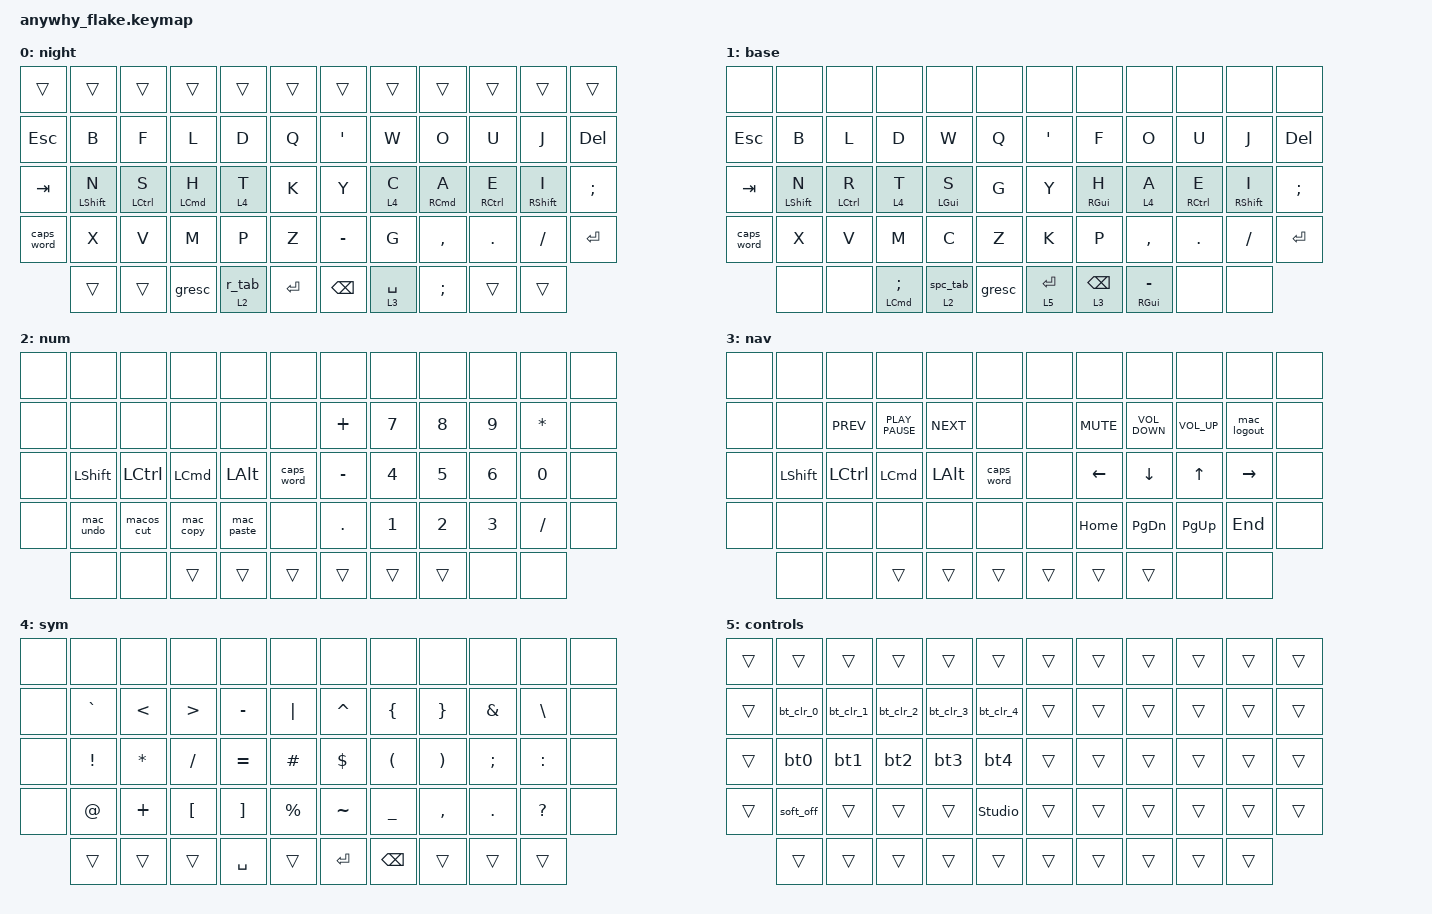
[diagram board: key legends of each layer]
#include <behaviors.dtsi>
#include <dt-bindings/zmk/bt.h>
#include <dt-bindings/zmk/keys.h>

&mt {
    flavor = "balanced";
    quick-tap-ms = <150>;
};

&lt {
    flavor = "balanced";
    quick-tap-ms = <200>;
};

&gresc {
    mods = <(MOD_RGUI|MOD_LGUI)>;
    keep-mods = <(MOD_LGUI)>;
};

/ {
    combos {
        compatible = "zmk,combos";

        to_night {
            bindings = <&to 0>;
            key-positions = <26 27 28>;
            timeout-ms = <20>;
            layers = <1>;
            require-prior-idle-ms = <150>;
        };

        to_graphite {
            bindings = <&to 1>;
            key-positions = <26 27 28>;
            layers = <0>;
        };
    };

    macros {
        bt_clr_0: bt_clr_0 {
            compatible = "zmk,behavior-macro";
            #binding-cells = <0>;
            bindings = <&bt BT_SEL 0 &bt BT_CLR>;
            label = "BT_CLR_0";
        };

        bt_clr_1: bt_clr_1 {
            compatible = "zmk,behavior-macro";
            #binding-cells = <0>;
            bindings = <&bt BT_SEL 1 &bt BT_CLR>;
            label = "BT_CLR_1";
        };

        bt_clr_2: bt_clr_2 {
            compatible = "zmk,behavior-macro";
            #binding-cells = <0>;
            bindings = <&bt BT_SEL 2 &bt BT_CLR>;
            label = "BT_CLR_2";
        };

        bt_clr_3: bt_clr_3 {
            compatible = "zmk,behavior-macro";
            #binding-cells = <0>;
            bindings = <&bt BT_SEL 3 &bt BT_CLR>;
            label = "BT_CLR_3";
        };

        bt_clr_4: bt_clr_4 {
            compatible = "zmk,behavior-macro";
            #binding-cells = <0>;
            bindings = <&bt BT_SEL 4 &bt BT_CLR>;
            label = "BT_CLR_4";
        };

        mac_logout: mac_logout {
            compatible = "zmk,behavior-macro";
            #binding-cells = <0>;
            bindings = <&kp LG(LC(Q))>;
            label = "MAC_LOGOUT";
        };

        mac_copy: mac_copy {
            compatible = "zmk,behavior-macro";
            #binding-cells = <0>;
            bindings = <&kp LG(C)>;
            label = "MAC_COPY";
        };

        mac_paste: mac_paste {
            compatible = "zmk,behavior-macro";
            #binding-cells = <0>;
            bindings = <&kp LG(V)>;
            label = "MAC_PASTE";
        };

        macos_cut: macos_cut {
            compatible = "zmk,behavior-macro";
            #binding-cells = <0>;
            bindings = <&kp LG(X)>;
            label = "MACOS_CUT";
        };

        mac_undo: mac_undo {
            compatible = "zmk,behavior-macro";
            #binding-cells = <0>;
            bindings = <&kp LG(Z)>;
            label = "MAC_UNDO";
        };
    };

    behaviors {
        bt0: bt0 {
            compatible = "zmk,behavior-mod-morph";
            label = "BT0";
            bindings = <&bt BT_SEL 0>, <&bt_clr_0>;

            #binding-cells = <0>;
            mods = <(MOD_LSFT|MOD_RSFT)>;
        };

        bt1: bt1 {
            compatible = "zmk,behavior-mod-morph";
            label = "BT1";
            bindings = <&bt BT_SEL 1>, <&bt_clr_1>;

            #binding-cells = <0>;
            mods = <(MOD_LSFT|MOD_RSFT)>;
        };

        bt2: bt2 {
            compatible = "zmk,behavior-mod-morph";
            label = "BT2";
            bindings = <&bt BT_SEL 2>, <&bt_clr_2>;

            #binding-cells = <0>;
            mods = <(MOD_LSFT|MOD_RSFT)>;
        };

        bt3: bt3 {
            compatible = "zmk,behavior-mod-morph";
            label = "BT3";
            bindings = <&bt BT_SEL 3>, <&bt_clr_3>;

            #binding-cells = <0>;
            mods = <(MOD_LSFT|MOD_RSFT)>;
        };

        bt4: bt4 {
            compatible = "zmk,behavior-mod-morph";
            label = "BT4";
            bindings = <&bt BT_SEL 4>, <&bt_clr_4>;

            #binding-cells = <0>;
            mods = <(MOD_LSFT|MOD_RSFT)>;
        };

        hml: hml {
            compatible = "zmk,behavior-hold-tap";
            label = "HML";
            bindings = <&kp>, <&kp>;

            #binding-cells = <2>;
            tapping-term-ms = <280>;
            quick-tap-ms = <175>;
            flavor = "balanced";
            hold-trigger-on-release;
            hold-trigger-key-positions = <18 18 19 20 21 22 30 31 32 33 34 42 43 44 45 46 51 54 53 55 52 50>;
            require-prior-idle-ms = <100>;
        };

        hmr: hmr {
            compatible = "zmk,behavior-hold-tap";
            label = "HMR";
            bindings = <&kp>, <&kp>;

            #binding-cells = <2>;
            tapping-term-ms = <280>;
            quick-tap-ms = <175>;
            flavor = "balanced";
            hold-trigger-key-positions = <13 14 15 16 25 26 27 28 37 38 39 40 17 29 41 52 51 50 55 54 53>;
            hold-trigger-on-release;
            require-prior-idle-ms = <100>;
        };

        ltl: ltl {
            compatible = "zmk,behavior-hold-tap";
            label = "LTL";
            bindings = <&mo>, <&kp>;

            #binding-cells = <2>;
            tapping-term-ms = <280>;
            quick-tap-ms = <175>;
            flavor = "balanced";
            hold-trigger-on-release;
            hold-trigger-key-positions = <18 18 19 20 21 22 30 31 32 33 34 42 43 44 45 46 51 50 52 53 54 55>;
            require-prior-idle-ms = <100>;
        };

        ltr: ltr {
            compatible = "zmk,behavior-hold-tap";
            label = "LTR";
            bindings = <&mo>, <&kp>;

            #binding-cells = <2>;
            tapping-term-ms = <280>;
            quick-tap-ms = <175>;
            flavor = "balanced";
            hold-trigger-key-positions = <13 14 15 16 25 26 27 28 37 38 39 40 17 29 41 50 51 52 53 54 55>;
            hold-trigger-on-release;
            require-prior-idle-ms = <100>;
        };

        spc_tab: spc_tab {
            compatible = "zmk,behavior-mod-morph";
            label = "SPC_TAB";
            bindings = <&kp SPACE>, <&kp TAB>;

            #binding-cells = <0>;
            mods = <(MOD_LGUI|MOD_LCTL)>;
            keep-mods = <(MOD_LGUI)>;
        };

        lt_spc_tab: lt_spc_tab {
            compatible = "zmk,behavior-hold-tap";
            label = "LT_SPC_TAB";
            bindings = <&mo>, <&spc_tab>;

            #binding-cells = <2>;
            tapping-term-ms = <200>;
            quick-tap-ms = <200>;
            flavor = "balanced";
        };

        enter_tab: enter_tab {
            compatible = "zmk,behavior-mod-morph";
            label = "ENTER_TAB";
            bindings = <&kp ENTER>, <&kp TAB>;

            #binding-cells = <0>;
            mods = <(MOD_LGUI|MOD_LCTL)>;
            keep-mods = <(MOD_LGUI)>;
        };

        bsp_enter: bsp_enter {
            compatible = "zmk,behavior-mod-morph";
            label = "BSP_ENTER";
            bindings = <&kp BACKSPACE>, <&kp ENTER>;

            #binding-cells = <0>;
            mods = <(MOD_LGUI|MOD_RGUI)>;
        };

        r_tab: r_tab {
            compatible = "zmk,behavior-mod-morph";
            label = "R_TAB";
            bindings = <&kp R>, <&kp TAB>;

            #binding-cells = <0>;
            mods = <(MOD_LGUI|MOD_LCTL)>;
            keep-mods = <(MOD_LGUI)>;
        };

        lt_r_tab: lt_r_tab {
            compatible = "zmk,behavior-hold-tap";
            label = "LT_R_TAB";
            bindings = <&mo>, <&r_tab>;

            #binding-cells = <2>;
            tapping-term-ms = <200>;
            quick-tap-ms = <200>;
            flavor = "balanced";
        };
    };

    keymap {
        compatible = "zmk,keymap";

        night {
            bindings = <
&trans      &trans             &trans               &trans               &trans         &trans       &trans         &trans       &trans                &trans                &trans              &trans
&kp ESCAPE  &kp B              &kp F                &kp L                &kp D          &kp Q        &kp SQT        &kp W        &kp O                 &kp U                 &kp J               &kp DELETE
&kp TAB     &hml LEFT_SHIFT N  &hml LEFT_CONTROL S  &hml LEFT_COMMAND H  &ltl 4 T       &kp K        &kp Y          &ltr 4 C     &hmr RIGHT_COMMAND A  &hmr RIGHT_CONTROL E  &hmr RIGHT_SHIFT I  &kp SEMICOLON
&caps_word  &kp X              &kp V                &kp M                &kp P          &kp Z        &kp MINUS      &kp G        &kp COMMA             &kp PERIOD            &kp SLASH           &kp ENTER
            &trans             &trans               &gresc               &lt_r_tab 2 0  &kp ENTER    &kp BACKSPACE  &lt 3 SPACE  &kp SEMICOLON         &trans                &trans
            >;
        };

        base {
            bindings = <
&none       &none              &none                &none                       &none            &none     &none        &none             &none                &none                 &none               &none
&kp ESC     &kp B              &kp L                &kp D                       &kp W            &kp Q     &kp SQT      &kp F             &kp O                &kp U                 &kp J               &kp DELETE
&kp TAB     &hml LEFT_SHIFT N  &hml LEFT_CONTROL R  &ltl 4 T                    &hml LEFT_GUI S  &kp G     &kp Y        &hmr RIGHT_GUI H  &ltr 4 A             &hmr RIGHT_CONTROL E  &hmr RIGHT_SHIFT I  &kp SEMICOLON
&caps_word  &kp X              &kp V                &kp M                       &kp C            &kp Z     &kp K        &kp P             &kp COMMA            &kp DOT               &kp SLASH           &kp ENTER
            &none              &none                &mt LEFT_COMMAND SEMICOLON  &lt_spc_tab 2 0  &gresc    &lt 5 ENTER  &lt 3 BACKSPACE   &mt RIGHT_GUI MINUS  &none                 &none
            >;
        };

        num {
            bindings = <
&none  &none           &none             &none      &none         &none         &none       &none         &none         &none         &none         &none
&none  &none           &none             &none      &none         &none         &kp PLUS    &kp NUMBER_7  &kp NUMBER_8  &kp NUMBER_9  &kp ASTERISK  &none
&none  &kp LEFT_SHIFT  &kp LEFT_CONTROL  &kp LCMD   &kp LEFT_ALT  &caps_word    &kp MINUS   &kp NUMBER_4  &kp NUMBER_5  &kp NUMBER_6  &kp NUMBER_0  &none
&none  &mac_undo       &macos_cut        &mac_copy  &mac_paste    &none         &kp PERIOD  &kp NUMBER_1  &kp NUMBER_2  &kp NUMBER_3  &kp SLASH     &none
       &none           &none             &trans     &trans        &trans        &trans      &trans        &trans        &none         &none
            >;
        };

        nav {
            bindings = <
&none  &none           &none             &none             &none       &none         &none   &none       &none              &none         &none        &none
&none  &none           &kp K_PREV        &kp K_PLAY_PAUSE  &kp K_NEXT  &none         &none   &kp K_MUTE  &kp C_VOLUME_DOWN  &kp C_VOL_UP  &mac_logout  &none
&none  &kp LEFT_SHIFT  &kp LEFT_CONTROL  &kp LCMD          &kp LALT    &caps_word    &none   &kp LEFT    &kp DOWN_ARROW     &kp UP_ARROW  &kp RIGHT    &none
&none  &none           &none             &none             &none       &none         &none   &kp HOME    &kp PAGE_DOWN      &kp PG_UP     &kp END      &none
       &none           &none             &trans            &trans      &trans        &trans  &trans      &trans             &none         &none
            >;
        };

        sym {
            bindings = <
&none  &none            &none          &none             &none              &none          &none       &none                 &none                  &none          &none          &none
&none  &kp GRAVE        &kp LESS_THAN  &kp GREATER_THAN  &kp MINUS          &kp PIPE       &kp CARET   &kp LEFT_BRACE        &kp RIGHT_BRACE        &kp AMPERSAND  &kp BACKSLASH  &none
&none  &kp EXCLAMATION  &kp ASTERISK   &kp SLASH         &kp EQUAL          &kp HASH       &kp DOLLAR  &kp LEFT_PARENTHESIS  &kp RIGHT_PARENTHESIS  &kp SEMICOLON  &kp COLON      &none
&none  &kp AT_SIGN      &kp PLUS       &kp LEFT_BRACKET  &kp RIGHT_BRACKET  &kp PERCENT    &kp TILDE   &kp UNDERSCORE        &kp COMMA              &kp PERIOD     &kp QUESTION   &none
       &trans           &trans         &trans            &kp SPACE          &trans         &kp ENTER   &kp BACKSPACE         &trans                 &trans         &trans
            >;
        };

        controls {
            bindings = <
&trans  &trans     &trans     &trans     &trans     &trans            &trans  &trans  &trans  &trans  &trans  &trans
&trans  &bt_clr_0  &bt_clr_1  &bt_clr_2  &bt_clr_3  &bt_clr_4         &trans  &trans  &trans  &trans  &trans  &trans
&trans  &bt0       &bt1       &bt2       &bt3       &bt4              &trans  &trans  &trans  &trans  &trans  &trans
&trans  &soft_off  &trans     &trans     &trans     &studio_unlock    &trans  &trans  &trans  &trans  &trans  &trans
        &trans     &trans     &trans     &trans     &trans            &trans  &trans  &trans  &trans  &trans
            >;
        };
    };
};
